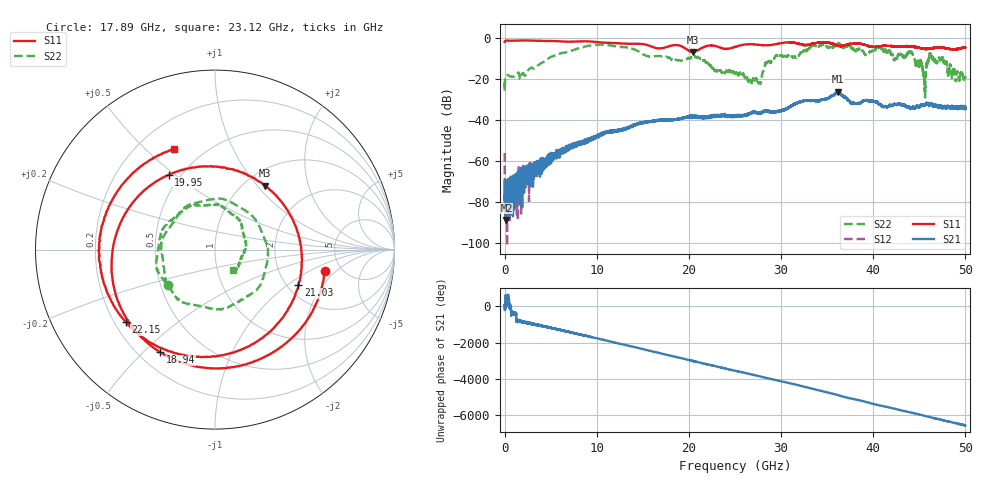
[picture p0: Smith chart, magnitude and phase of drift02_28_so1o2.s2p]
!Created with skrf (http://scikit-rf.org).
# Hz S RI R 50.0
!freq ReS11 ImS11 ReS21 ImS21 ReS12 ImS12 ReS22 ImS22
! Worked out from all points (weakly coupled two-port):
!   10001 points, 300 kHz to 50 GHz, reference 50 ohm
!   highest |S21| = -26.25 dB at 36.14 GHz (marker M1); lowest = -88.9 dB at 200.3 MHz (marker M2)
!   lowest |S11| = -6.9 dB at 20.45 GHz (marker M3), VSWR 2.64, Z = 61.4 + j54.8 ohm
!   |S11| at or under -10 dB: nowhere
!   |S22| runs from -29.1 to -2.5 dB; largest |S21 - S12| = 0.0051
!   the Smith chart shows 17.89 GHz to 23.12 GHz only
!   S11 on the Smith chart (normalised r, x): 17.89 GHz: 3.70, -1.45; 18.94 GHz: 0.29, -0.56; 19.95 GHz: 0.43, +0.47; 21.03 GHz: 2.28, -1.22; 22.15 GHz: 0.24, -0.33; 23.12 GHz: 0.35, +0.61
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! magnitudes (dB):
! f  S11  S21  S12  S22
! 300 kHz  -2.1  -70.0  -56.2  -21.5
! 200.3 MHz  -1.4  -88.9  -76.9  -18.3
! 8.335 GHz  -1.7  -51.1  -51.5  -4.8
! 16.67 GHz  -5.2  -40.3  -40.2  -9.0
! 17.89 GHz  -4.1  -40.2  -39.9  -9.7
! 18.94 GHz  -3.8  -39.6  -39.6  -10.9
! 19.95 GHz  -6.2  -38.7  -38.5  -9.8
! 20.45 GHz  -6.9  -38.8  -38.3  -9.8
! 21.03 GHz  -5.9  -38.2  -38.8  -9.5
! 22.15 GHz  -3.9  -38.5  -38.5  -12.9
! 23.12 GHz  -4.4  -38.1  -37.9  -16.2
! 25 GHz  -4.5  -38.2  -38.1  -17.6
! 27.62 GHz  -3.5  -36.8  -36.8  -21.9
! 28.42 GHz  -3.7  -35.9  -35.8  -12.3
! 29.54 GHz  -3.0  -36.0  -36.1  -8.8
! 33.34 GHz  -3.1  -30.6  -30.5  -3.8
! 36.14 GHz  -3.9  -26.3  -26.9  -3.3
! 41.67 GHz  -4.0  -33.6  -33.4  -6.3
! 44.12 GHz  -4.1  -34.5  -34.4  -7.0
! 45.5 GHz  -5.3  -33.0  -33.1  -19.1
! 46.3 GHz  -5.2  -32.5  -32.0  -9.1
! 50 GHz  -4.8  -34.5  -34.8  -19.3
